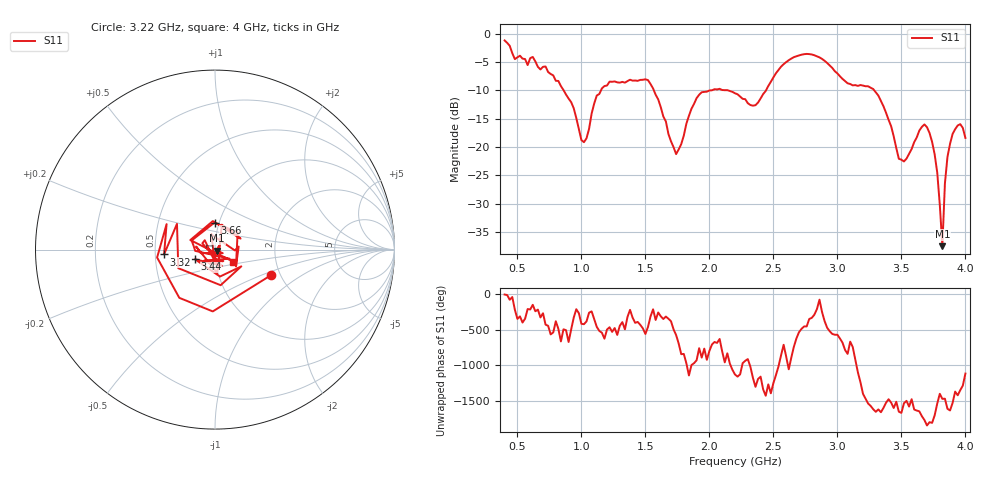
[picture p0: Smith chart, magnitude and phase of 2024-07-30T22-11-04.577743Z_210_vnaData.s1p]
!Created with skrf (http://scikit-rf.org).
# Hz S RI R 50.0
!freq ReS11 ImS11
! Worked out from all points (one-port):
!   181 points, 400 MHz to 4 GHz, reference 50 ohm
!   lowest |S11| = -37.5 dB at 3.82 GHz (marker M1), VSWR 1.03, Z = 51.2 - j0.621 ohm
!   |S11| at or under -10 dB: 1.566 GHz to 2 GHz (433.2 MHz wide, 24.3 % of centre); 2.148 GHz to 2.442 GHz (294.3 MHz wide, 12.8 % of centre); 3.289 GHz to end of sweep (the widest 3 of 4)
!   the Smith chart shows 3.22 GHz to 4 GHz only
!   S11 on the Smith chart (normalised r, x): 3.22 GHz: 1.80, -0.58; 3.32 GHz: 0.56, -0.03; 3.44 GHz: 0.79, -0.09; 3.66 GHz: 0.95, +0.29; 4 GHz: 1.21, -0.16
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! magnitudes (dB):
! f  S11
! 400 MHz  -1.2
! 860 MHz  -9.9
! 1.02 GHz  -19.1
! 1.12 GHz  -10.9
! 1.3 GHz  -8.6
! 1.52 GHz  -8.2
! 1.74 GHz  -21.3
! 1.76 GHz  -20.4
! 1.92 GHz  -10.7
! 2.2 GHz  -10.5
! 2.36 GHz  -12.6
! 2.66 GHz  -4.1
! 2.86 GHz  -4.1
! 3.1 GHz  -8.9
! 3.22 GHz  -9.3
! 3.32 GHz  -10.9
! 3.44 GHz  -18.1
! 3.48 GHz  -22.1
! 3.56 GHz  -21.2
! 3.66 GHz  -16.4
! 3.7 GHz  -16.5
! 3.76 GHz  -21.3
! 3.78 GHz  -24.5
! 3.82 GHz  -37.5
! 3.84 GHz  -26.5
! 3.88 GHz  -19.4
! 3.96 GHz  -16.0
! 4 GHz  -18.4
